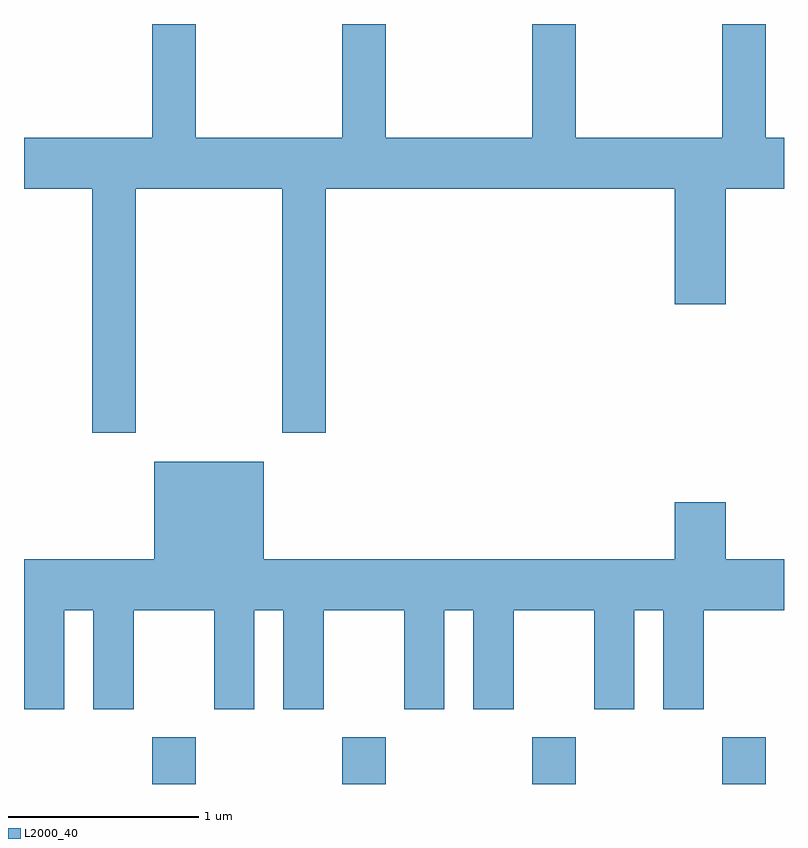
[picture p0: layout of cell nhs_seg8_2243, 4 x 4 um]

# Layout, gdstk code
import gdstk
lib = gdstk.Library(unit=1e-6, precision=1e-09)
def R(c, l, rs):  # rectangles x0, y0, x1, y1
    for r in rs: c.add(gdstk.rectangle(r[:2], r[2:], *l))
def A(c, l, x, y, w, h, nx, ny, dx, dy):  # array of equal rectangles
    R(c, l, [(x+i*dx, y+j*dy, x+i*dx+w, y+j*dy+h) for i in range(nx) for j in range(ny)])
def P(c, l, *ps):  # polygons
    for p in ps: c.add(gdstk.Polygon(p, *l))
L2000_40 = (2000, 40)

nhs_seg8_2243 = lib.new_cell('nhs_seg8_2243')
A(nhs_seg8_2243, L2000_40, 252.286, 1884.342, 0.228, 0.247, 4, 1, 1, 0)
P(nhs_seg8_2243, L2000_40, [(252.199,1887.476),(252.971,1887.476),(252.971,1886.191),(253.199,1886.191),(253.199,1887.476),(255.036,1887.476),(255.036,1886.866),(255.304,1886.866),(255.304,1887.476),(255.611,1887.476),(255.611,1887.744),(255.514,1887.744),(255.514,1888.342),(255.286,1888.342),(255.286,1887.744),(254.514,1887.744),(254.514,1888.342),(254.286,1888.342),(254.286,1887.744),(253.514,1887.744),(253.514,1888.342),(253.286,1888.342),(253.286,1887.744),(252.514,1887.744),(252.514,1888.342),(252.286,1888.342),(252.286,1887.744),(251.611,1887.744),(251.611,1887.476),(251.971,1887.476),(251.971,1886.191),(252.199,1886.191)],
  [(252.296,1885.524),(251.611,1885.524),(251.611,1884.736),(251.824,1884.736),(251.824,1885.256),(251.976,1885.256),(251.976,1884.736),(252.189,1884.736),(252.189,1885.256),(252.611,1885.256),(252.611,1884.736),(252.824,1884.736),(252.824,1885.256),(252.976,1885.256),(252.976,1884.736),(253.189,1884.736),(253.189,1885.256),(253.611,1885.256),(253.611,1884.736),(253.824,1884.736),(253.824,1885.256),(253.976,1885.256),(253.976,1884.736),(254.189,1884.736),(254.189,1885.256),(254.611,1885.256),(254.611,1884.736),(254.824,1884.736),(254.824,1885.256),(254.976,1885.256),(254.976,1884.736),(255.189,1884.736),(255.189,1885.256),(255.611,1885.256),(255.611,1885.524),(255.304,1885.524),(255.304,1885.824),(255.036,1885.824),(255.036,1885.524),(252.874,1885.524),(252.874,1886.039),(252.296,1886.039)])

lib.write_gds('nhs_seg8_2243.gds')
